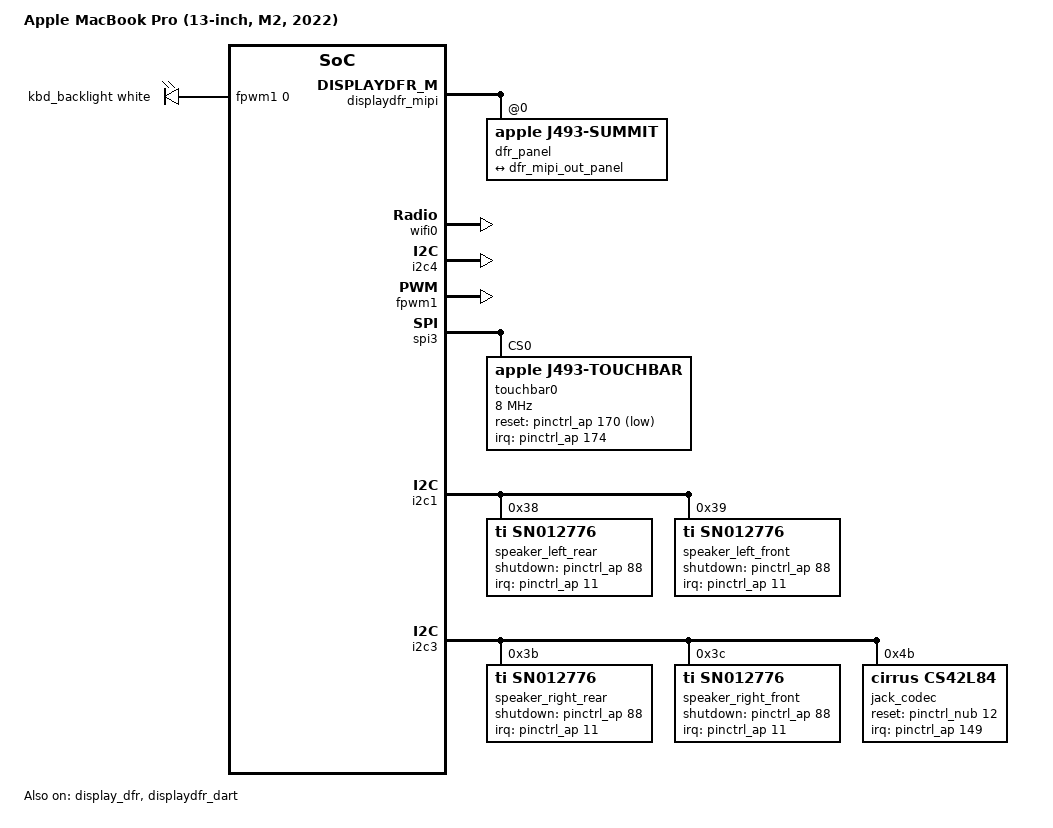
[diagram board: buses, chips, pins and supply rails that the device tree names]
// SPDX-License-Identifier: GPL-2.0+ OR MIT
/*
 * Apple MacBook Pro (13-inch, M1, 2022)
 *
 * target-type: J493
 *
 * Copyright The Asahi Linux Contributors
 */

/dts-v1/;

#include "t8112.dtsi"
#include "t8112-jxxx.dtsi"
#include <dt-bindings/leds/common.h>

/ {
	compatible = "apple,j493", "apple,t8112", "apple,arm-platform";
	model = "Apple MacBook Pro (13-inch, M2, 2022)";
	chassis-type = "laptop";

	/*
	 * All of those are used by the bootloader to pass calibration
	 * blobs and other device-specific properties
	 */
	aliases {
		bluetooth0 = &bluetooth0;
		touchbar0 = &touchbar0;
		wifi0 = &wifi0;
	};

	led-controller {
		compatible = "pwm-leds";
		led-0 {
			pwms = <&fpwm1 0 40000>;
			label = "kbd_backlight";
			function = LED_FUNCTION_KBD_BACKLIGHT;
			color = <LED_COLOR_ID_WHITE>;
			max-brightness = <255>;
			default-state = "keep";
		};
	};
};

/*
 * The driver depends on boot loader initialized state which resets when this
 * power-domain is powered off. This happens on suspend or when the driver is
 * missing during boot. Mark the domain as always on until the driver can
 * handle this.
 */
&ps_dispdfr_be {
	apple,always-on;
};

&display_dfr {
	status = "okay";
};

&dfr_mipi_out {
	dfr_mipi_out_panel: endpoint@0 {
		reg = <0>;
		remote-endpoint = <&dfr_panel_in>;
	};
};

&displaydfr_mipi {
	status = "okay";
	#address-cells = <1>;
	#size-cells = <0>;

	dfr_panel: panel@0 {
		compatible = "apple,j493-summit", "apple,summit";
		reg = <0>;
		max-brightness = <255>;

		port {
			dfr_panel_in: endpoint {
				remote-endpoint = <&dfr_mipi_out_panel>;
			};
		};
	};
};

&displaydfr_dart {
	status = "okay";
};

/*
 * Force the bus number assignments so that we can declare some of the
 * on-board devices and properties that are populated by the bootloader
 * (such as MAC addresses).
 */
&port00 {
	bus-range = <1 1>;
	wifi0: wifi@0,0 {
		compatible = "pci14e4,4425";
		reg = <0x10000 0x0 0x0 0x0 0x0>;
		/* To be filled by the loader */
		local-mac-address = [00 00 00 00 00 00];
		apple,antenna-sku = "XX";
		brcm,board-type = "apple,kyushu";
	};

	bluetooth0: bluetooth@0,1 {
		compatible = "pci14e4,5f69";
		reg = <0x10100 0x0 0x0 0x0 0x0>;
		/* To be filled by the loader */
		local-bd-address = [00 00 00 00 00 00];
		brcm,board-type = "apple,kyushu";
	};
};

/*
 * Provide labels for the USB type C ports.
 */

&typec0 {
	label = "USB-C Left-back";
};

&typec1 {
	label = "USB-C Left-front";
};

&i2c4 {
	status = "okay";
};

&fpwm1 {
	status = "okay";
};

&spi3 {
	status = "okay";

	touchbar0: touchbar@0 {
		compatible = "apple,j493-touchbar";
		reg = <0>;
		spi-max-frequency = <8000000>;
		spi-cs-setup-delay-ns = <2000>;
		spi-cs-hold-delay-ns = <2000>;
		reset-gpios = <&pinctrl_ap 170 GPIO_ACTIVE_LOW>;
		interrupts-extended = <&pinctrl_ap 174 IRQ_TYPE_EDGE_FALLING>;
		firmware-name = "apple/dfrmtfw-j493.bin";
		touchscreen-size-x = <23045>;
		touchscreen-size-y = <640>;
		touchscreen-inverted-y;
	};
};

/* Audio codecs */
&i2c1 {
	status = "okay";

	speaker_left_rear: codec@38 {
		compatible = "ti,sn012776";
		reg = <0x38>;
		interrupts-extended = <&pinctrl_ap 11 IRQ_TYPE_LEVEL_LOW>;
		shutdown-gpios = <&pinctrl_ap 88 GPIO_ACTIVE_HIGH>;
		#sound-dai-cells = <0>;
		sound-name-prefix = "Left Rear";
		ti,imon-slot-no = <8>;
		ti,vmon-slot-no = <10>;
	};

	speaker_left_front: codec@39 {
		compatible = "ti,sn012776";
		reg = <0x39>;
		interrupts-extended = <&pinctrl_ap 11 IRQ_TYPE_LEVEL_LOW>;
		shutdown-gpios = <&pinctrl_ap 88 GPIO_ACTIVE_HIGH>;
		#sound-dai-cells = <0>;
		sound-name-prefix = "Left Front";
		ti,imon-slot-no = <0>;
		ti,vmon-slot-no = <2>;
	};
};

&i2c3 {
	status = "okay";

	speaker_right_rear: codec@3b {
		compatible = "ti,sn012776";
		reg = <0x3b>;
		interrupts-extended = <&pinctrl_ap 11 IRQ_TYPE_LEVEL_LOW>;
		shutdown-gpios = <&pinctrl_ap 88 GPIO_ACTIVE_HIGH>;
		#sound-dai-cells = <0>;
		sound-name-prefix = "Right Rear";
		ti,imon-slot-no = <12>;
		ti,vmon-slot-no = <14>;
	};

	speaker_right_front: codec@3c {
		compatible = "ti,sn012776";
		reg = <0x3c>;
		interrupts-extended = <&pinctrl_ap 11 IRQ_TYPE_LEVEL_LOW>;
		shutdown-gpios = <&pinctrl_ap 88 GPIO_ACTIVE_HIGH>;
		#sound-dai-cells = <0>;
		sound-name-prefix = "Right Front";
		ti,imon-slot-no = <4>;
		ti,vmon-slot-no = <6>;
	};

	jack_codec: codec@4b {
		compatible = "cirrus,cs42l84";
		reg = <0x4b>;
		interrupts-extended = <&pinctrl_ap 149 IRQ_TYPE_LEVEL_LOW>;
		reset-gpios = <&pinctrl_nub 12 GPIO_ACTIVE_HIGH>;
		#sound-dai-cells = <0>;
		sound-name-prefix = "Jack";
	};
};

/ {
	sound: sound {
		compatible = "apple,j493-macaudio", "apple,j293-macaudio";
		model = "MacBook Pro J493";

		#address-cells = <1>;
		#size-cells = <0>;

		dai-link@0 {
			reg = <0>;

			dai-tdm-idle-mode-0 = "zero";
			dai-tdm-idle-mode-2 = "zero";
			dai-tdm-slot-tx-idle-mask-0 = <0xf0f0>;
			dai-tdm-slot-tx-idle-mask-2 = <0x0f0f>;

			link-name = "Speakers";

			codec {
				sound-dai = <&speaker_left_front>,
					    <&speaker_left_rear>,
					    <&speaker_right_front>,
					    <&speaker_right_rear>;
			};

			cpu {
				sound-dai = <&mca 0>, <&mca 1>;
			};
		};

		dai-link@1 {
			reg = <1>;

			link-name = "Headphone Jack";

			codec {
				sound-dai = <&jack_codec>;
			};

			cpu {
				sound-dai = <&mca 2>;
			};
		};
	};
};

#include "hwmon-laptop.dtsi"
#include "hwmon-fan.dtsi"
